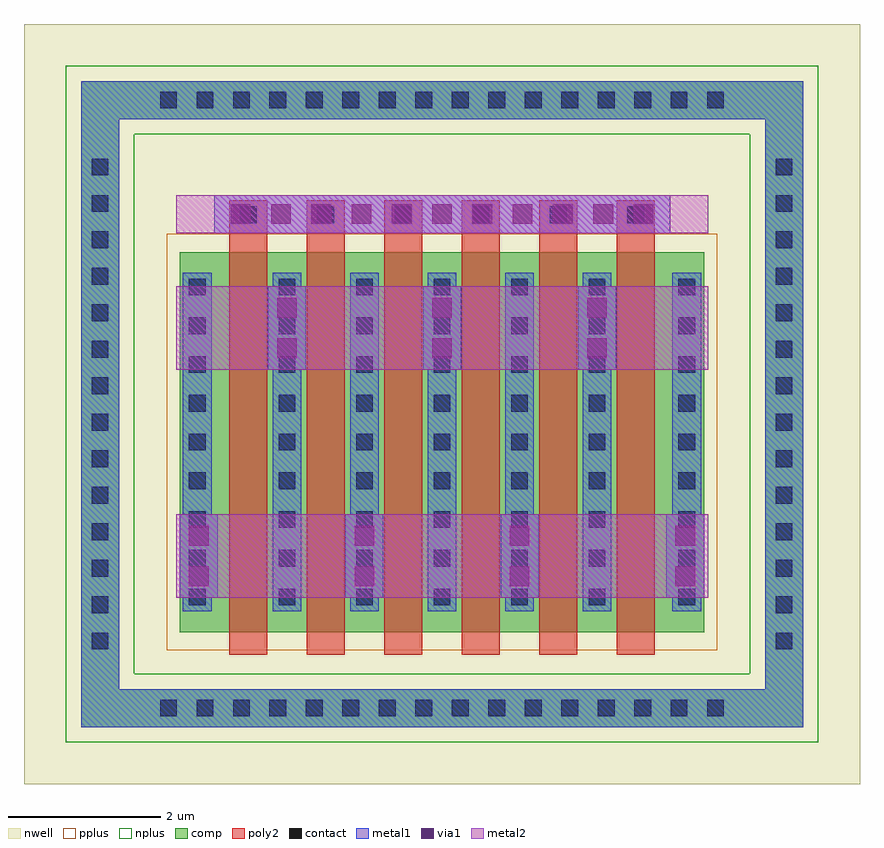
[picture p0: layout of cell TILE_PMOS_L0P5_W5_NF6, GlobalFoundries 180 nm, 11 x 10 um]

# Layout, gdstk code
import gdstk
lib = gdstk.Library(unit=1e-6, precision=1e-09)
def R(c, l, rs):  # rectangles x0, y0, x1, y1
    for r in rs: c.add(gdstk.rectangle(r[:2], r[2:], *l))
def A(c, l, x, y, w, h, nx, ny, dx, dy):  # array of equal rectangles
    R(c, l, [(x+i*dx, y+j*dy, x+i*dx+w, y+j*dy+h) for i in range(nx) for j in range(ny)])
nwell = (21, 0)
comp = (22, 0)
poly2 = (30, 0)
pplus = (31, 0)
nplus = (32, 0)
contact = (33, 0)
metal1 = (34, 0)
via1 = (35, 0)
metal2 = (36, 0)

via_dev = lib.new_cell('via_dev')

via_dev_3 = lib.new_cell('via_dev$3')
R(via_dev_3, comp, [(0,0,0.5,7)])
A(via_dev_3, contact, 0.14, 0.27, 0.22, 0.22, 1, 14, 0, 0.48)
R(via_dev_3, metal1, [(0,0,0.5,7)])

via_dev_2 = lib.new_cell('via_dev$2')
R(via_dev_2, comp, [(0,0,8,0.5)])
A(via_dev_2, contact, 0.29, 0.14, 0.22, 0.22, 16, 1, 0.48, 0)
R(via_dev_2, metal1, [(0,0,8,0.5)])

pfet = lib.new_cell('pfet')
R(pfet, nwell, [(-0.9,-0.44,6.88,5.44)])
R(pfet, comp, [(-0.46,0,0,5), (0,0,5.98,5), (5.98,0,6.44,5)])
A(pfet, poly2, 0.19, -0.3, 0.5, 5.6, 6, 1, 1.02, 0)
A(pfet, poly2, 0.19, 5.3, 0.5, 0.38, 6, 1, 1.02, 0)
R(pfet, pplus, [(-0.63,-0.24,6.61,5.24)])
A(pfet, contact, -0.34, 0.35, 0.22, 0.22, 1, 9, 0, 0.51)
A(pfet, contact, 0.84, 0.35, 0.22, 0.22, 5, 9, 1.02, 0.51)
A(pfet, contact, 6.1, 0.35, 0.22, 0.22, 1, 9, 0, 0.51)
A(pfet, contact, 0.33, 5.38, 0.22, 0.22, 6, 1, 1.02, 0)
A(pfet, metal1, 0.76, 0.27, 0.38, 4.46, 5, 1, 1.02, 0)
A(pfet, metal1, 0.25, 5.299, 0.38, 0.382, 6, 1, 1.02, 0)
R(pfet, metal1, [(-0.42,0.27,-0.04,4.73), (6.02,0.27,6.4,4.73)])

via_dev_5 = lib.new_cell('via_dev$5')
R(via_dev_5, metal1, [(0,0,0.5,1.1)])
R(via_dev_5, via1, [(0.12,0.155,0.38,0.415), (0.12,0.685,0.38,0.945)])
R(via_dev_5, metal2, [(0,0,0.5,1.1)])

via_dev_4 = lib.new_cell('via_dev$4')
R(via_dev_4, metal1, [(0,0,6,0.5)])
A(via_dev_4, via1, 0.22, 0.12, 0.26, 0.26, 11, 1, 0.53, 0)
R(via_dev_4, metal2, [(0,0,6,0.5)])

tile_pmos_l0p5_w5_nf6 = lib.new_cell('TILE_PMOS_L0P5_W5_NF6')
R(tile_pmos_l0p5_w5_nf6, nwell, [(-5.5,-1,5.5,9)])
tile_pmos_l0p5_w5_nf6.add(gdstk.FlexPath([(-3.5,2),(3.5,2)], 1.1, ends="flush", simple_path=True, layer=36, datatype=0))  # metal2
tile_pmos_l0p5_w5_nf6.add(gdstk.FlexPath([(-3.5,5),(3.5,5)], 1.1, ends="flush", simple_path=True, layer=36, datatype=0))  # metal2
tile_pmos_l0p5_w5_nf6.add(gdstk.FlexPath([(-3.5,6.5),(3.5,6.5)], 0.5, ends="flush", simple_path=True, layer=36, datatype=0))  # metal2
tile_pmos_l0p5_w5_nf6.add(gdstk.FlexPath([(-4.5,8.25),(-4.5,-0.25)], 0.5, ends="flush", simple_path=True, layer=34, datatype=0))  # metal1
tile_pmos_l0p5_w5_nf6.add(gdstk.FlexPath([(4.5,8.25),(4.5,-0.25)], 0.5, ends="flush", simple_path=True, layer=34, datatype=0))  # metal1
tile_pmos_l0p5_w5_nf6.add(gdstk.FlexPath([(-4.75,8),(4.75,8)], 0.5, ends="flush", simple_path=True, layer=34, datatype=0))  # metal1
tile_pmos_l0p5_w5_nf6.add(gdstk.FlexPath([(-4.75,0),(4.75,0)], 0.5, ends="flush", simple_path=True, layer=34, datatype=0))  # metal1
tile_pmos_l0p5_w5_nf6.add(gdstk.FlexPath([(-3,6.5),(3,6.5)], 0.5, ends="flush", simple_path=True, layer=34, datatype=0))  # metal1
tile_pmos_l0p5_w5_nf6.add(gdstk.FlexPath([(4.5,8.25),(4.5,-0.25)], 0.5, ends="flush", simple_path=True, layer=22, datatype=0))  # comp
tile_pmos_l0p5_w5_nf6.add(gdstk.FlexPath([(-4.5,8.25),(-4.5,-0.25)], 0.5, ends="flush", simple_path=True, layer=22, datatype=0))  # comp
tile_pmos_l0p5_w5_nf6.add(gdstk.FlexPath([(-4.75,8),(4.75,8)], 0.5, ends="flush", simple_path=True, layer=22, datatype=0))  # comp
tile_pmos_l0p5_w5_nf6.add(gdstk.FlexPath([(-4.75,0),(4.75,0)], 0.5, ends="flush", simple_path=True, layer=22, datatype=0))  # comp
tile_pmos_l0p5_w5_nf6.add(gdstk.FlexPath([(-4.95,0),(4.95,0)], 0.9, ends="flush", simple_path=True, layer=32, datatype=0))  # nplus
tile_pmos_l0p5_w5_nf6.add(gdstk.FlexPath([(-4.95,8),(4.95,8)], 0.9, ends="flush", simple_path=True, layer=32, datatype=0))  # nplus
tile_pmos_l0p5_w5_nf6.add(gdstk.FlexPath([(4.5,0),(4.5,8)], 0.9, ends="flush", simple_path=True, layer=32, datatype=0))  # nplus
tile_pmos_l0p5_w5_nf6.add(gdstk.FlexPath([(-4.5,0),(-4.5,8)], 0.9, ends="flush", simple_path=True, layer=32, datatype=0))  # nplus
tile_pmos_l0p5_w5_nf6.add(gdstk.Reference(via_dev, (-0.62,-0.915)))
tile_pmos_l0p5_w5_nf6.add(gdstk.Reference(via_dev_3, (-4.75,0.5)))
tile_pmos_l0p5_w5_nf6.add(gdstk.Reference(via_dev_3, (4.25,0.5)))
tile_pmos_l0p5_w5_nf6.add(gdstk.Reference(via_dev_2, (-4,-0.25)))
tile_pmos_l0p5_w5_nf6.add(gdstk.Reference(pfet, (-2.99,1)))
tile_pmos_l0p5_w5_nf6.add(gdstk.Reference(via_dev_5, (-3.45,1.45)))
tile_pmos_l0p5_w5_nf6.add(gdstk.Reference(via_dev_5, (-1.27,1.45)))
tile_pmos_l0p5_w5_nf6.add(gdstk.Reference(via_dev_5, (0.77,1.45)))
tile_pmos_l0p5_w5_nf6.add(gdstk.Reference(via_dev_5, (2.95,1.45)))
tile_pmos_l0p5_w5_nf6.add(gdstk.Reference(via_dev_5, (1.79,4.45)))
tile_pmos_l0p5_w5_nf6.add(gdstk.Reference(via_dev_5, (-0.25,4.45)))
tile_pmos_l0p5_w5_nf6.add(gdstk.Reference(via_dev_5, (-2.29,4.45)))
tile_pmos_l0p5_w5_nf6.add(gdstk.Reference(via_dev_4, (-3,6.25)))
tile_pmos_l0p5_w5_nf6.add(gdstk.Reference(via_dev_2, (-4,7.75)))

lib.write_gds('TILE_PMOS_L0P5_W5_NF6.gds')
